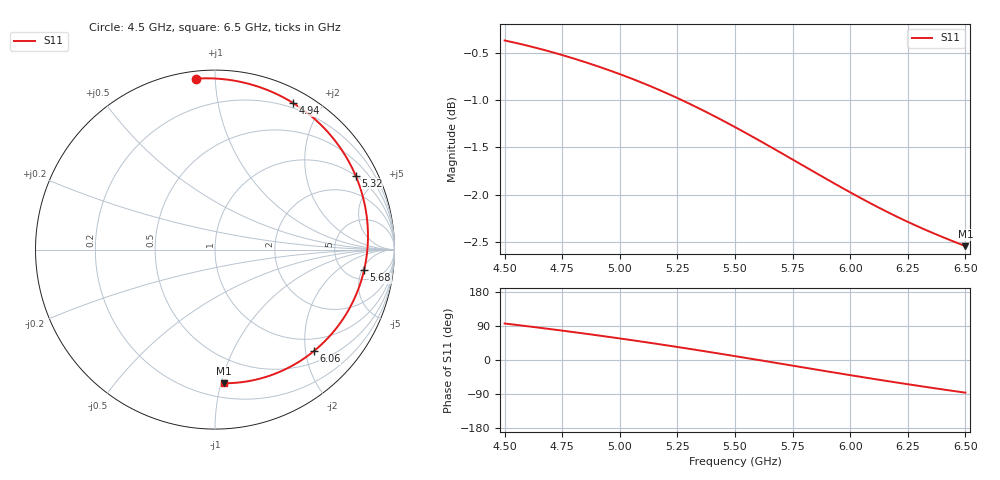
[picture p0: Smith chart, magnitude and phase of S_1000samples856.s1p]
! TOUCHSTONE file generated by CST MICROWAVE STUDIO
! Date and time: Sat Oct 29 15:00:09 2022
! Project name: L.cst
! Parameters = {Di=1.27; Epsilon_r=1.56; InnerDiameter=1.27; Length=2; Lf=10; Lg=60; OuterConductorThickness=0.2921; OuterDiameter=3.6; Wf=3; Wp=41.2; de=1.5; df=6.8; g=0.8; gx=3.125; gy=4.61525; h=2.34; hf=1.524; px=11.1002; py=9.67339; w=9.7; wx=7.97519; wy=5.05814}
! Header version: 2018
! Port assignment regex: !\s*Touchstone port\s*([0-9]+)\s*=\s*(CST MWS port|CST DS port)\s*([0-9]+|Zmin|Zmax)\s*\(\"(.*)\"\)(\s*mode\s*([0-9]+))?.*
! Touchstone port assignment:
! Touchstone port 1 = CST MWS port 1 ("")
# GHz S DB R 50
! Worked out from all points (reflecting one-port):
!   101 points, 4.5 GHz to 6.5 GHz, reference 50 ohm
!   lowest |S11| = -2.5 dB at 6.5 GHz (marker M1), VSWR 6.88, Z = 15.2 - j51.1 ohm
!   phase of S11 starts at 96 deg and turns -183 deg over the sweep
!   S11 on the Smith chart (normalised r, x): 4.5 GHz: 0.04, +0.89; 4.94 GHz: 0.15, +1.65; 5.32 GHz: 1.00, +3.80; 5.68 GHz: 7.11, -5.48; 6.06 GHz: 0.72, -2.16; 6.5 GHz: 0.30, -1.02
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4.5  -0.37 96.3
4.58  -0.41 90.5
4.64  -0.45 86.0
4.7  -0.49 81.4
4.76  -0.53 76.7
4.86  -0.61 68.7
4.94  -0.67 62.0
5  -0.73 56.9
5.06  -0.78 51.6
5.12  -0.84 46.3
5.2  -0.92 39.0
5.26  -0.99 33.4
5.32  -1.06 27.7
5.42  -1.18 18.1
5.5  -1.28 10.2
5.58  -1.39 2.2
5.68  -1.53 -7.8
5.76  -1.64 -15.9
5.82  -1.73 -22.0
5.88  -1.81 -28.0
5.94  -1.89 -34.0
6  -1.97 -40.0
6.06  -2.05 -45.8
6.16  -2.18 -55.5
6.26  -2.30 -64.9
6.32  -2.36 -70.3
6.38  -2.43 -75.7
6.5  -2.54 -86.2
